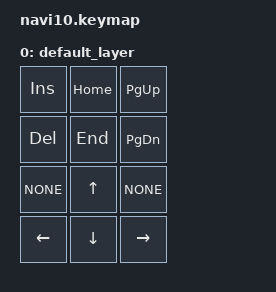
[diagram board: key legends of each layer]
/*
 * Copyright (c) 2020 The ZMK Contributors
 *
 * SPDX-License-Identifier: MIT
 */

#include <behaviors.dtsi>
#include <dt-bindings/zmk/keys.h>

/ {
	keymap {
		compatible = "zmk,keymap";

		default_layer {
			bindings = <
&kp INSERT &kp HOME &kp PAGE_UP
&kp DELETE &kp END  &kp PAGE_DOWN
&kp NONE   &kp UP   &kp NONE
&kp LEFT   &kp DOWN &kp RIGHT
			>;
		};
	};
};
